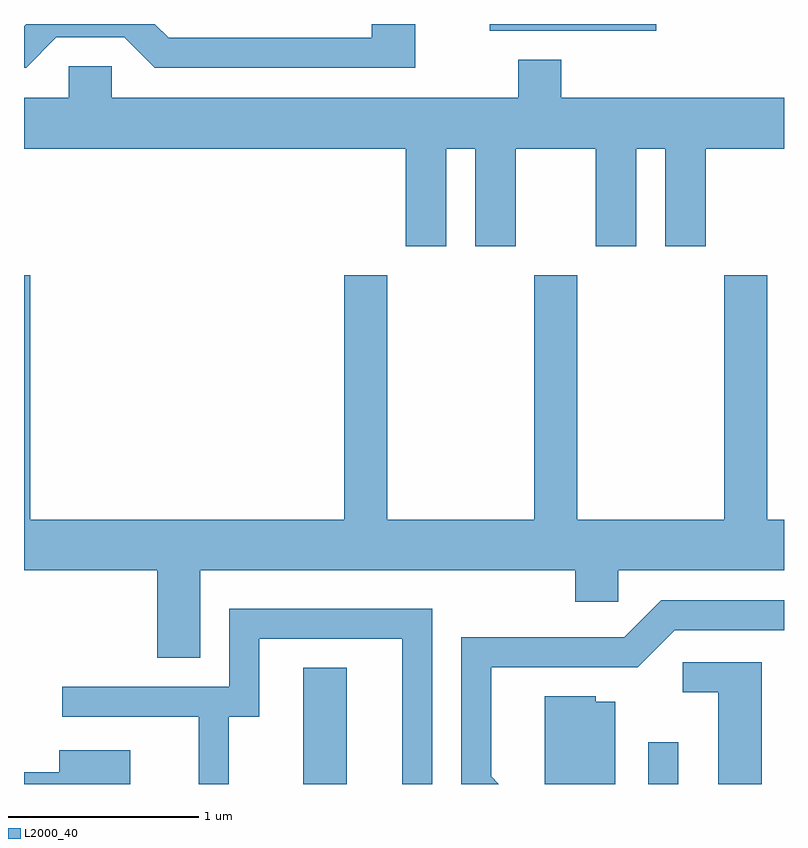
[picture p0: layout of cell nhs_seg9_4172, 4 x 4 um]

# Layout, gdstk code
import gdstk
lib = gdstk.Library(unit=1e-6, precision=1e-09)
def R(c, l, rs):  # rectangles x0, y0, x1, y1
    for r in rs: c.add(gdstk.rectangle(r[:2], r[2:], *l))
def P(c, l, *ps):  # polygons
    for p in ps: c.add(gdstk.Polygon(p, *l))
L2000_40 = (2000, 40)

nhs_seg9_4172 = lib.new_cell('nhs_seg9_4172')
R(nhs_seg9_4172, L2000_40, [(309.081,2028.432,309.309,2029.044), (310.896,2028.432,311.054,2028.653), (310.061,2032.396,310.938,2032.432)])
P(nhs_seg9_4172, L2000_40, [(307.782,2032.361),(308.139,2032.361),(308.299,2032.201),(309.669,2032.201),(309.669,2032.432),(309.441,2032.432),(309.441,2032.359),(308.372,2032.359),(308.299,2032.432),(307.622,2032.432),(307.611,2032.421),(307.611,2032.201),(307.622,2032.201)],
  [(309.834,2031.776),(309.986,2031.776),(309.986,2031.261),(310.199,2031.261),(310.199,2031.776),(310.621,2031.776),(310.621,2031.261),(310.834,2031.261),(310.834,2031.776),(310.986,2031.776),(310.986,2031.261),(311.199,2031.261),(311.199,2031.776),(311.611,2031.776),(311.611,2032.044),(310.439,2032.044),(310.439,2032.244),(310.211,2032.244),(310.211,2032.044),(308.074,2032.044),(308.074,2032.209),(307.846,2032.209),(307.846,2032.044),(307.611,2032.044),(307.611,2031.776),(309.621,2031.776),(309.621,2031.261),(309.834,2031.261)],
  [(308.539,2029.556),(310.511,2029.556),(310.511,2029.391),(310.739,2029.391),(310.739,2029.556),(311.611,2029.556),(311.611,2029.824),(311.524,2029.824),(311.524,2031.109),(311.296,2031.109),(311.296,2029.824),(310.524,2029.824),(310.524,2031.109),(310.296,2031.109),(310.296,2029.824),(309.524,2029.824),(309.524,2031.109),(309.296,2031.109),(309.296,2029.824),(307.644,2029.824),(307.644,2031.109),(307.611,2031.109),(307.611,2029.556),(308.311,2029.556),(308.311,2029.096),(308.539,2029.096)],
  [(310.069,2028.472),(310.069,2029.046),(310.842,2029.046),(311.037,2029.241),(311.611,2029.241),(311.611,2029.399),(310.964,2029.399),(310.769,2029.204),(309.911,2029.204),(309.911,2028.432),(310.109,2028.432)],
  [(308.689,2028.786),(308.849,2028.786),(308.849,2029.196),(309.601,2029.196),(309.601,2028.432),(309.759,2028.432),(309.759,2029.354),(308.691,2029.354),(308.691,2028.944),(307.813,2028.944),(307.813,2028.786),(308.531,2028.786),(308.531,2028.432),(308.689,2028.432)],
  [(311.494,2029.074),(311.078,2029.074),(311.078,2028.916),(311.266,2028.916),(311.266,2028.432),(311.494,2028.432)],
  [(310.724,2028.864),(310.619,2028.864),(310.619,2028.894),(310.351,2028.894),(310.351,2028.432),(310.724,2028.432)],
  [(308.169,2028.609),(307.796,2028.609),(307.796,2028.494),(307.611,2028.494),(307.611,2028.432),(308.169,2028.432)])

lib.write_gds('nhs_seg9_4172.gds')
